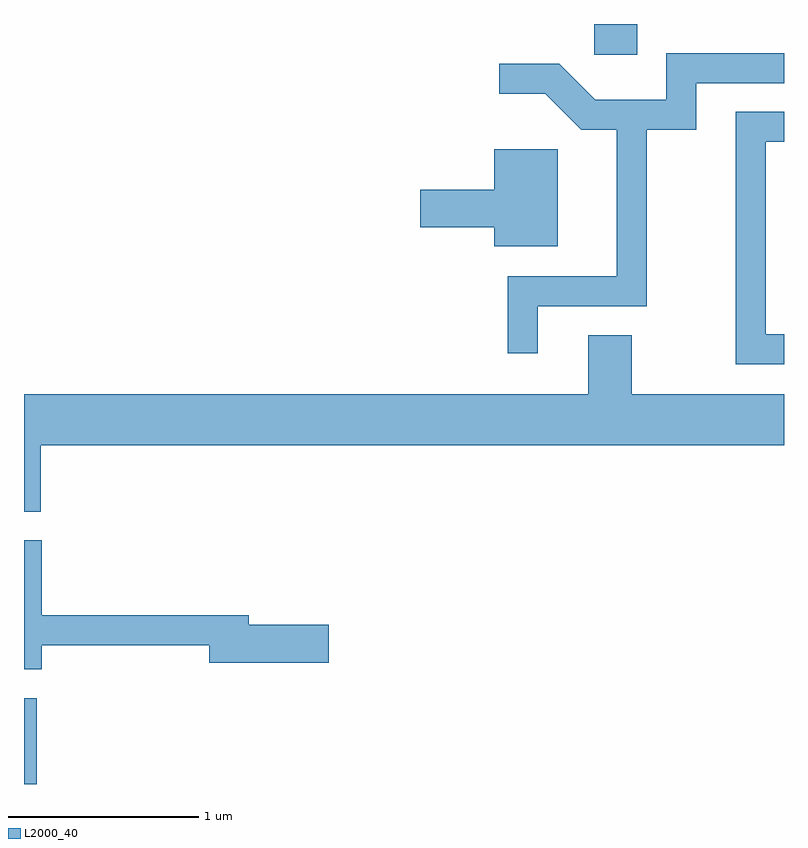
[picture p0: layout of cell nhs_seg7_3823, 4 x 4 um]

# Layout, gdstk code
import gdstk
lib = gdstk.Library(unit=1e-6, precision=1e-09)
def R(c, l, rs):  # rectangles x0, y0, x1, y1
    for r in rs: c.add(gdstk.rectangle(r[:2], r[2:], *l))
def P(c, l, *ps):  # polygons
    for p in ps: c.add(gdstk.Polygon(p, *l))
L2000_40 = (2000, 40)

nhs_seg7_3823 = lib.new_cell('nhs_seg7_3823')
R(nhs_seg7_3823, L2000_40, [(301.611,1770.252,301.679,1770.704), (304.611,1774.091,304.839,1774.252)])
P(nhs_seg7_3823, L2000_40, [(304.314,1772.766),(304.889,1772.766),(304.889,1773.696),(305.149,1773.696),(305.149,1773.941),(305.611,1773.941),(305.611,1774.099),(304.991,1774.099),(304.991,1773.854),(304.617,1773.854),(304.427,1774.044),(304.113,1774.044),(304.113,1773.886),(304.354,1773.886),(304.544,1773.696),(304.731,1773.696),(304.731,1772.924),(304.156,1772.924),(304.156,1772.518),(304.314,1772.518)],
  [(305.611,1772.619),(305.514,1772.619),(305.514,1773.631),(305.611,1773.631),(305.611,1773.789),(305.356,1773.789),(305.356,1772.461),(305.611,1772.461)],
  [(304.419,1773.594),(304.086,1773.594),(304.086,1773.379),(303.696,1773.379),(303.696,1773.181),(304.086,1773.181),(304.086,1773.081),(304.419,1773.081)],
  [(301.699,1772.036),(305.611,1772.036),(305.611,1772.304),(304.809,1772.304),(304.809,1772.614),(304.581,1772.614),(304.581,1772.304),(301.611,1772.304),(301.611,1771.686),(301.699,1771.686)],
  [(301.704,1770.981),(302.586,1770.981),(302.586,1770.891),(303.214,1770.891),(303.214,1771.089),(302.794,1771.089),(302.794,1771.139),(301.704,1771.139),(301.704,1771.534),(301.611,1771.534),(301.611,1770.856),(301.704,1770.856)])

lib.write_gds('nhs_seg7_3823.gds')
